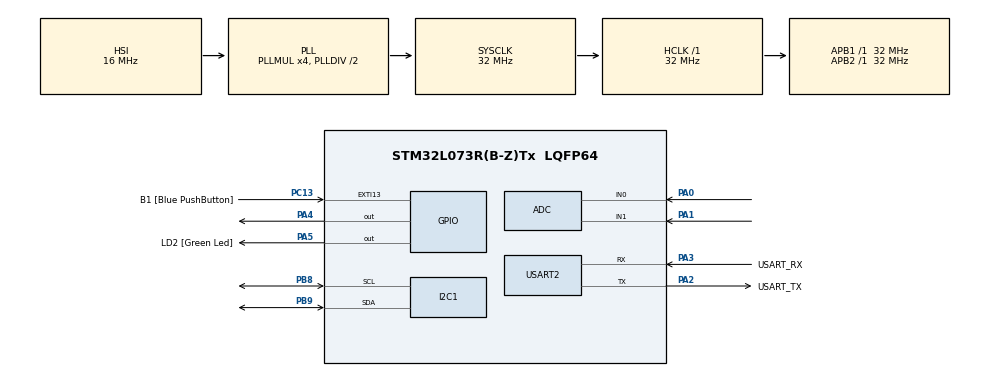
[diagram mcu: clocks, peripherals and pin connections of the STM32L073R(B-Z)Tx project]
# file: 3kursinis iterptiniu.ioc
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Dma.ADC.0.Direction=DMA_PERIPH_TO_MEMORY
Dma.ADC.0.Instance=DMA1_Channel1
Dma.ADC.0.MemDataAlignment=DMA_MDATAALIGN_HALFWORD
Dma.ADC.0.MemInc=DMA_MINC_ENABLE
Dma.ADC.0.Mode=DMA_NORMAL
Dma.ADC.0.PeriphDataAlignment=DMA_PDATAALIGN_HALFWORD
Dma.ADC.0.PeriphInc=DMA_PINC_DISABLE
Dma.ADC.0.Priority=DMA_PRIORITY_HIGH
Dma.Request0=ADC
I2C1.Timing=0x00707CBB
Mcu.Family=STM32L0
Mcu.Name=STM32L073R(B-Z)Tx
Mcu.Package=LQFP64
NVIC.ADC1_COMP_IRQn=true\:0\:0\:false\:false\:true\:true\:true\:true
NVIC.DMA1_Channel1_IRQn=true\:0\:0\:false\:false\:true\:false\:true\:true
NVIC.I2C1_IRQn=true\:0\:0\:false\:false\:true\:true\:true\:true
NVIC.TIM6_DAC_IRQn=true\:0\:0\:false\:false\:true\:true\:true\:true
PA0.Mode=IN0
PA0.Signal=ADC_IN0
PA1.Mode=IN1
PA1.Signal=ADC_IN1
PA13.GPIO_Label=TMS
PA13.Mode=Serial_Wire
PA13.Signal=SYS_SWDIO
PA14.GPIO_Label=TCK
PA14.Mode=Serial_Wire
PA14.Signal=SYS_SWCLK
PA2.GPIO_Label=USART_TX
PA2.Mode=Asynchronous
PA2.Signal=USART2_TX
PA3.GPIO_Label=USART_RX
PA3.Mode=Asynchronous
PA3.Signal=USART2_RX
PA4.GPIO_ModeDefaultOutputPP=GPIO_MODE_OUTPUT_PP
PA4.GPIO_PuPd=GPIO_PULLDOWN
PA4.GPIO_Speed=GPIO_SPEED_FREQ_VERY_HIGH
PA4.PinState=GPIO_PIN_SET
PA4.Signal=GPIO_Output
PA5.GPIO_Label=LD2 [Green Led]
PA5.Signal=GPIO_Output
PB8.Mode=I2C
PB8.Signal=I2C1_SCL
PB9.Mode=I2C
PB9.Signal=I2C1_SDA
PC13.GPIO_Label=B1 [Blue PushButton]
PC13.GPIO_ModeDefaultEXTI=GPIO_MODE_IT_FALLING
PC13.Signal=GPXTI13
PC14-OSC32_IN.Mode=LSE-External-Oscillator
PC14-OSC32_IN.Signal=RCC_OSC32_IN
PC15-OSC32_OUT.Mode=LSE-External-Oscillator
PC15-OSC32_OUT.Signal=RCC_OSC32_OUT
PH0-OSC_IN.GPIO_Label=MCO
PH0-OSC_IN.Mode=HSE-External-Clock-Source
PH0-OSC_IN.Signal=RCC_OSC_IN
ProjectManager.HeapSize=0x200
ProjectManager.StackSize=0x400
ProjectManager.TargetToolchain=MDK-ARM V5.32
RCC.AHBFreq_Value=32000000
RCC.APB1Freq_Value=32000000
RCC.APB1TimFreq_Value=32000000
RCC.APB2Freq_Value=32000000
RCC.APB2TimFreq_Value=32000000
RCC.HCLKFreq_Value=32000000
RCC.HSE_VALUE=8000000
RCC.HSI16_VALUE=16000000
RCC.HSI48_VALUE=48000000
RCC.HSI_VALUE=16000000
RCC.MSI_VALUE=2097000
RCC.PLLMUL=RCC_PLLMUL_4
RCC.SYSCLKFreq_VALUE=32000000
RCC.SYSCLKSource=RCC_SYSCLKSOURCE_PLLCLK
RCC.VCOOutputFreq_Value=64000000
TIM6.Period=200
TIM6.Prescaler=40000
USART2.VirtualMode-Asynchronous=VM_ASYNC
VP_TIM6_VS_ClockSourceINT.Mode=Enable_Timer
board=NUCLEO-L073RZ

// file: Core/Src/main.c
/* USER CODE BEGIN Header */
/**
  ******************************************************************************
  * @file           : main.c
  * @brief          : Main program body
  ******************************************************************************
  * @attention
  *
  * Copyright (c) 2024 STMicroelectronics.
  * All rights reserved.
  *
  * This software is licensed under terms that can be found in the LICENSE file
  * in the root directory of this software component.
  * If no LICENSE file comes with this software, it is provided AS-IS.
  *
  ******************************************************************************
  */
/* USER CODE END Header */
#include "main.h"

/* USER CODE BEGIN Includes */
#include "ssd1306.h"
#include "fonts.h"
#include <stdio.h>

/* USER CODE END Includes */

ADC_HandleTypeDef hadc;
DMA_HandleTypeDef hdma_adc;

I2C_HandleTypeDef hi2c1;

TIM_HandleTypeDef htim6;

UART_HandleTypeDef huart2;

/* USER CODE BEGIN PV */
char bufferr[50]; // Declare a buffer to hold the formatted string
int value = 123; // Example value to format

int vertes;
float itampa1;
float itampa2;
int varza1;
int varza2;
int n,j;
char reiksme[10];
int R1=10000;
int R2=1000;
int timer;
volatile uint16_t adcResults [2];
int adcconversioncomplete = 0;
int vertes1[5], vertes2[5];
int suma1, suma2;
int vid1;
int vid2;
int k=0;
int i=0;
char vidurkis1[12], vidurkis2[12];
/* USER CODE END PV */

void SystemClock_Config(void);
static void MX_GPIO_Init(void);
static void MX_DMA_Init(void);
static void MX_USART2_UART_Init(void);
static void MX_ADC_Init(void);
static void MX_I2C1_Init(void);
static void MX_TIM6_Init(void);

/* USER CODE BEGIN 0 */
I2C_HandleTypeDef hi2c1; // I2C handler

/* USER CODE END 0 */

int main(void)
{
  /* USER CODE BEGIN 1 */
HAL_Init();
 SystemClock_Config();
 MX_GPIO_Init();
 MX_I2C1_Init();
 MX_USART2_UART_Init();
 MX_DMA_Init();
 MX_ADC_Init();
 MX_TIM6_Init();

	//Init lcd using one of the stm32HAL i2c typedefs
  if (ssd1306_Init(&hi2c1) != 0) {
    Error_Handler();
  }

  /* USER CODE END 1 */

  /* MCU Configuration--------------------------------------------------------*/

  /* Reset of all peripherals, Initializes the Flash interface and the Systick. */
  HAL_Init();

  /* Configure the system clock */
  SystemClock_Config();

  /* Initialize all configured peripherals */
  MX_GPIO_Init();
  MX_DMA_Init();
  MX_USART2_UART_Init();
  MX_ADC_Init();
  MX_I2C1_Init();
  MX_TIM6_Init();
  /* USER CODE BEGIN 2 */
if(HAL_TIM_Base_Start_IT(&htim6)!=HAL_OK){
}
  /* USER CODE END 2 */

  /* Infinite loop */
  /* USER CODE BEGIN WHILE */
  while (1)
  {
		if(timer==2){
HAL_ADC_Start_DMA(&hadc, (uint32_t*)adcResults, 2);
		if(adcResults [0]>1 || adcResults [1]>1){

		itampa1=((float)adcResults [0]/4095)*3.3;
	  varza1=(itampa1*R1)/(3.3-itampa1);
		itampa2=((float)adcResults [1]/4095)*3.3;
	  varza2=(itampa2*R2)/(3.3-itampa2);

			if(i == 5){
		i = 0;
		}

		vertes1[i] = varza1;
		vertes2[i] = varza2;

		suma1 = 0;
		suma2 = 0;

		for(j = 0; j < 5; j++){
		suma1 += vertes1[j];
		suma2 += vertes2[j];
		}

		vid1 = suma1/5;
		vid2 = suma2/5;

sprintf(reiksme,"R1: %d", varza1);
ssd1306_SetCursor(10, 10);
		ssd1306_WriteString (reiksme, Font_11x18, 1);
		ssd1306_UpdateScreen(&hi2c1);
		//ssd1306_Fill(Black);

sprintf(reiksme,"R2: %d", varza2);
ssd1306_SetCursor(10, 40);
		ssd1306_WriteString (reiksme, Font_11x18, 1);
		ssd1306_UpdateScreen(&hi2c1);
		//ssd1306_Fill(Black);

		sprintf(vidurkis1, "R1 = %d\n" , vid1);
		sprintf(vidurkis2, "R2 = %d\n" , vid2);
		i++;
		k++;
		timer=0;
		}
		else{
		ssd1306_SetCursor(10, 10);
    ssd1306_WriteString ("Kraunama", Font_11x18, 1);
		ssd1306_UpdateScreen(&hi2c1);
			timer = 0;
	}
}
		if(k==4){
		k=0;
		HAL_UART_Transmit (&huart2, vidurkis1, sizeof vidurkis1,10);
		HAL_UART_Transmit (&huart2, vidurkis2, sizeof vidurkis1,10);
	}

    /* USER CODE END WHILE */

  }
}

void SystemClock_Config(void)
{
  RCC_OscInitTypeDef RCC_OscInitStruct = {0};
  RCC_ClkInitTypeDef RCC_ClkInitStruct = {0};
  RCC_PeriphCLKInitTypeDef PeriphClkInit = {0};

  /** Configure the main internal regulator output voltage
  */
  __HAL_PWR_VOLTAGESCALING_CONFIG(PWR_REGULATOR_VOLTAGE_SCALE1);

  /** Initializes the RCC Oscillators according to the specified parameters
  * in the RCC_OscInitTypeDef structure.
  */
  RCC_OscInitStruct.OscillatorType = RCC_OSCILLATORTYPE_HSI;
  RCC_OscInitStruct.HSIState = RCC_HSI_ON;
  RCC_OscInitStruct.HSICalibrationValue = RCC_HSICALIBRATION_DEFAULT;
  RCC_OscInitStruct.PLL.PLLState = RCC_PLL_ON;
  RCC_OscInitStruct.PLL.PLLSource = RCC_PLLSOURCE_HSI;
  RCC_OscInitStruct.PLL.PLLMUL = RCC_PLLMUL_4;
  RCC_OscInitStruct.PLL.PLLDIV = RCC_PLLDIV_2;
  if (HAL_RCC_OscConfig(&RCC_OscInitStruct) != HAL_OK)
  {
    Error_Handler();
  }

  /** Initializes the CPU, AHB and APB buses clocks
  */
  RCC_ClkInitStruct.ClockType = RCC_CLOCKTYPE_HCLK|RCC_CLOCKTYPE_SYSCLK
                              |RCC_CLOCKTYPE_PCLK1|RCC_CLOCKTYPE_PCLK2;
  RCC_ClkInitStruct.SYSCLKSource = RCC_SYSCLKSOURCE_PLLCLK;
  RCC_ClkInitStruct.AHBCLKDivider = RCC_SYSCLK_DIV1;
  RCC_ClkInitStruct.APB1CLKDivider = RCC_HCLK_DIV1;
  RCC_ClkInitStruct.APB2CLKDivider = RCC_HCLK_DIV1;

  if (HAL_RCC_ClockConfig(&RCC_ClkInitStruct, FLASH_LATENCY_1) != HAL_OK)
  {
    Error_Handler();
  }
  PeriphClkInit.PeriphClockSelection = RCC_PERIPHCLK_USART2|RCC_PERIPHCLK_I2C1;
  PeriphClkInit.Usart2ClockSelection = RCC_USART2CLKSOURCE_PCLK1;
  PeriphClkInit.I2c1ClockSelection = RCC_I2C1CLKSOURCE_PCLK1;
  if (HAL_RCCEx_PeriphCLKConfig(&PeriphClkInit) != HAL_OK)
  {
    Error_Handler();
  }
}

static void MX_ADC_Init(void)
{

  ADC_ChannelConfTypeDef sConfig = {0};

  /** Configure the global features of the ADC (Clock, Resolution, Data Alignment and number of conversion)
  */
  hadc.Instance = ADC1;
  hadc.Init.OversamplingMode = DISABLE;
  hadc.Init.ClockPrescaler = ADC_CLOCK_SYNC_PCLK_DIV2;
  hadc.Init.Resolution = ADC_RESOLUTION_12B;
  hadc.Init.SamplingTime = ADC_SAMPLETIME_1CYCLE_5;
  hadc.Init.ScanConvMode = ADC_SCAN_DIRECTION_FORWARD;
  hadc.Init.DataAlign = ADC_DATAALIGN_RIGHT;
  hadc.Init.ContinuousConvMode = DISABLE;
  hadc.Init.DiscontinuousConvMode = DISABLE;
  hadc.Init.ExternalTrigConvEdge = ADC_EXTERNALTRIGCONVEDGE_NONE;
  hadc.Init.ExternalTrigConv = ADC_SOFTWARE_START;
  hadc.Init.DMAContinuousRequests = DISABLE;
  hadc.Init.EOCSelection = ADC_EOC_SINGLE_CONV;
  hadc.Init.Overrun = ADC_OVR_DATA_PRESERVED;
  hadc.Init.LowPowerAutoWait = DISABLE;
  hadc.Init.LowPowerFrequencyMode = DISABLE;
  hadc.Init.LowPowerAutoPowerOff = DISABLE;
  if (HAL_ADC_Init(&hadc) != HAL_OK)
  {
    Error_Handler();
  }

  /** Configure for the selected ADC regular channel to be converted.
  */
  sConfig.Channel = ADC_CHANNEL_0;
  sConfig.Rank = ADC_RANK_CHANNEL_NUMBER;
  if (HAL_ADC_ConfigChannel(&hadc, &sConfig) != HAL_OK)
  {
    Error_Handler();
  }

  /** Configure for the selected ADC regular channel to be converted.
  */
  sConfig.Channel = ADC_CHANNEL_1;
  if (HAL_ADC_ConfigChannel(&hadc, &sConfig) != HAL_OK)
  {
    Error_Handler();
  }

}

static void MX_I2C1_Init(void)
{

  hi2c1.Instance = I2C1;
  hi2c1.Init.Timing = 0x00707CBB;
  hi2c1.Init.OwnAddress1 = 0;
  hi2c1.Init.AddressingMode = I2C_ADDRESSINGMODE_7BIT;
  hi2c1.Init.DualAddressMode = I2C_DUALADDRESS_DISABLE;
  hi2c1.Init.OwnAddress2 = 0;
  hi2c1.Init.OwnAddress2Masks = I2C_OA2_NOMASK;
  hi2c1.Init.GeneralCallMode = I2C_GENERALCALL_DISABLE;
  hi2c1.Init.NoStretchMode = I2C_NOSTRETCH_DISABLE;
  if (HAL_I2C_Init(&hi2c1) != HAL_OK)
  {
    Error_Handler();
  }

  /** Configure Analogue filter
  */
  if (HAL_I2CEx_ConfigAnalogFilter(&hi2c1, I2C_ANALOGFILTER_ENABLE) != HAL_OK)
  {
    Error_Handler();
  }

  /** Configure Digital filter
  */
  if (HAL_I2CEx_ConfigDigitalFilter(&hi2c1, 0) != HAL_OK)
  {
    Error_Handler();
  }

}

static void MX_TIM6_Init(void)
{

  TIM_MasterConfigTypeDef sMasterConfig = {0};

  htim6.Instance = TIM6;
  htim6.Init.Prescaler = 40000;
  htim6.Init.CounterMode = TIM_COUNTERMODE_UP;
  htim6.Init.Period = 200;
  htim6.Init.AutoReloadPreload = TIM_AUTORELOAD_PRELOAD_DISABLE;
  if (HAL_TIM_Base_Init(&htim6) != HAL_OK)
  {
    Error_Handler();
  }
  sMasterConfig.MasterOutputTrigger = TIM_TRGO_RESET;
  sMasterConfig.MasterSlaveMode = TIM_MASTERSLAVEMODE_DISABLE;
  if (HAL_TIMEx_MasterConfigSynchronization(&htim6, &sMasterConfig) != HAL_OK)
  {
    Error_Handler();
  }

}

static void MX_USART2_UART_Init(void)
{

  huart2.Instance = USART2;
  huart2.Init.BaudRate = 115200;
  huart2.Init.WordLength = UART_WORDLENGTH_8B;
  huart2.Init.StopBits = UART_STOPBITS_1;
  huart2.Init.Parity = UART_PARITY_NONE;
  huart2.Init.Mode = UART_MODE_TX_RX;
  huart2.Init.HwFlowCtl = UART_HWCONTROL_NONE;
  huart2.Init.OverSampling = UART_OVERSAMPLING_16;
  huart2.Init.OneBitSampling = UART_ONE_BIT_SAMPLE_DISABLE;
  huart2.AdvancedInit.AdvFeatureInit = UART_ADVFEATURE_NO_INIT;
  if (HAL_UART_Init(&huart2) != HAL_OK)
  {
    Error_Handler();
  }

}

static void MX_DMA_Init(void)
{

  /* DMA controller clock enable */
  __HAL_RCC_DMA1_CLK_ENABLE();

  /* DMA interrupt init */
  /* DMA1_Channel1_IRQn interrupt configuration */
  HAL_NVIC_SetPriority(DMA1_Channel1_IRQn, 0, 0);
  HAL_NVIC_EnableIRQ(DMA1_Channel1_IRQn);

}

static void MX_GPIO_Init(void)
{
  GPIO_InitTypeDef GPIO_InitStruct = {0};

  /* GPIO Ports Clock Enable */
  __HAL_RCC_GPIOC_CLK_ENABLE();
  __HAL_RCC_GPIOH_CLK_ENABLE();
  __HAL_RCC_GPIOA_CLK_ENABLE();
  __HAL_RCC_GPIOB_CLK_ENABLE();

  /*Configure GPIO pin Output Level */
  HAL_GPIO_WritePin(GPIOA, GPIO_PIN_4, GPIO_PIN_SET);

  /*Configure GPIO pin Output Level */
  HAL_GPIO_WritePin(LD2_GPIO_Port, LD2_Pin, GPIO_PIN_RESET);

  /*Configure GPIO pin : B1_Pin */
  GPIO_InitStruct.Pin = B1_Pin;
  GPIO_InitStruct.Mode = GPIO_MODE_IT_FALLING;
  GPIO_InitStruct.Pull = GPIO_NOPULL;
  HAL_GPIO_Init(B1_GPIO_Port, &GPIO_InitStruct);

  /*Configure GPIO pin : PA4 */
  GPIO_InitStruct.Pin = GPIO_PIN_4;
  GPIO_InitStruct.Mode = GPIO_MODE_OUTPUT_PP;
  GPIO_InitStruct.Pull = GPIO_PULLDOWN;
  GPIO_InitStruct.Speed = GPIO_SPEED_FREQ_VERY_HIGH;
  HAL_GPIO_Init(GPIOA, &GPIO_InitStruct);

  /*Configure GPIO pin : LD2_Pin */
  GPIO_InitStruct.Pin = LD2_Pin;
  GPIO_InitStruct.Mode = GPIO_MODE_OUTPUT_PP;
  GPIO_InitStruct.Pull = GPIO_NOPULL;
  GPIO_InitStruct.Speed = GPIO_SPEED_FREQ_LOW;
  HAL_GPIO_Init(LD2_GPIO_Port, &GPIO_InitStruct);

}

void Error_Handler(void)
{
  __disable_irq();
  while (1)
  {
  }
}
